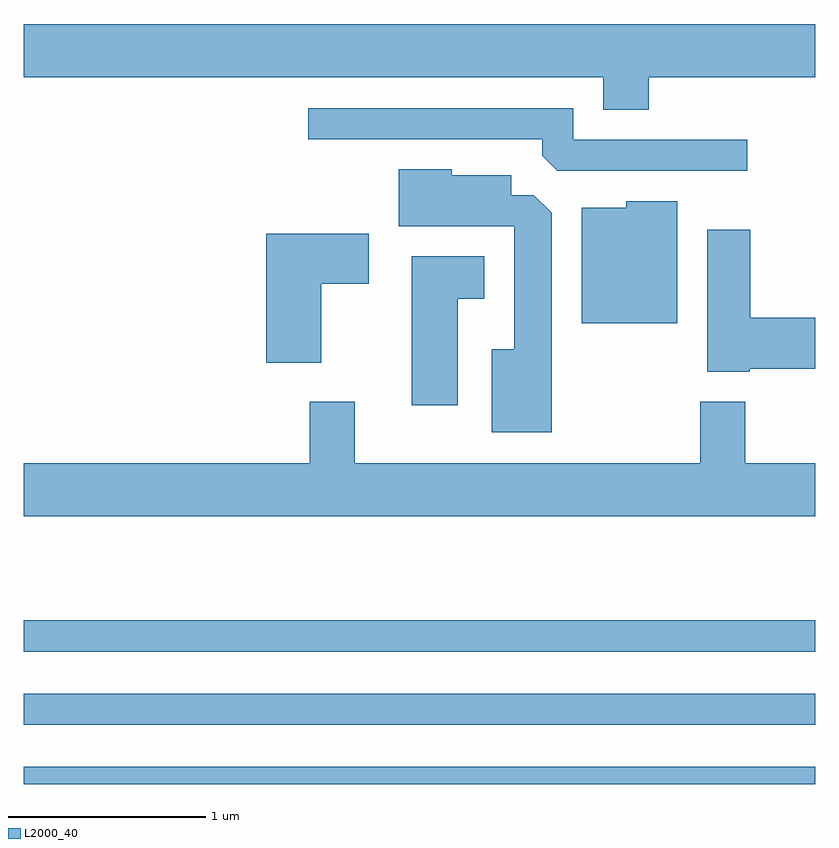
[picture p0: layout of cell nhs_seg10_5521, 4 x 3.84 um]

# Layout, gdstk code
import gdstk
lib = gdstk.Library(unit=1e-6, precision=1e-09)
def R(c, l, rs):  # rectangles x0, y0, x1, y1
    for r in rs: c.add(gdstk.rectangle(r[:2], r[2:], *l))
def P(c, l, *ps):  # polygons
    for p in ps: c.add(gdstk.Polygon(p, *l))
L2000_40 = (2000, 40)

nhs_seg10_5521 = lib.new_cell('nhs_seg10_5521')
R(nhs_seg10_5521, L2000_40, [(347.611,2152.522,351.611,2152.609), (347.611,2152.821,351.611,2152.979), (347.611,2153.191,351.611,2153.349)])
P(nhs_seg10_5521, L2000_40, [(350.769,2156.096),(351.611,2156.096),(351.611,2156.364),(347.611,2156.364),(347.611,2156.096),(350.541,2156.096),(350.541,2155.931),(350.769,2155.931)],
  [(351.268,2155.779),(350.389,2155.779),(350.389,2155.939),(349.048,2155.939),(349.048,2155.781),(350.231,2155.781),(350.231,2155.697),(350.307,2155.621),(351.268,2155.621)],
  [(350.279,2155.409),(350.189,2155.499),(350.074,2155.499),(350.074,2155.599),(349.774,2155.599),(349.774,2155.629),(349.506,2155.629),(349.506,2155.341),(350.091,2155.341),(350.091,2154.719),(349.976,2154.719),(349.976,2154.301),(350.279,2154.301)],
  [(350.914,2155.469),(350.656,2155.469),(350.656,2155.434),(350.431,2155.434),(350.431,2154.851),(350.914,2154.851)],
  [(351.28,2154.621),(351.611,2154.621),(351.611,2154.879),(351.284,2154.879),(351.284,2155.324),(351.066,2155.324),(351.066,2154.606),(351.28,2154.606)],
  [(349.114,2155.051),(349.354,2155.051),(349.354,2155.304),(348.836,2155.304),(348.836,2154.651),(349.114,2154.651)],
  [(349.804,2154.976),(349.939,2154.976),(349.939,2155.189),(349.571,2155.189),(349.571,2154.436),(349.804,2154.436)],
  [(351.611,2154.144),(351.259,2154.144),(351.259,2154.454),(351.031,2154.454),(351.031,2154.144),(349.284,2154.144),(349.284,2154.454),(349.056,2154.454),(349.056,2154.144),(347.611,2154.144),(347.611,2153.876),(351.611,2153.876)])

lib.write_gds('nhs_seg10_5521.gds')
